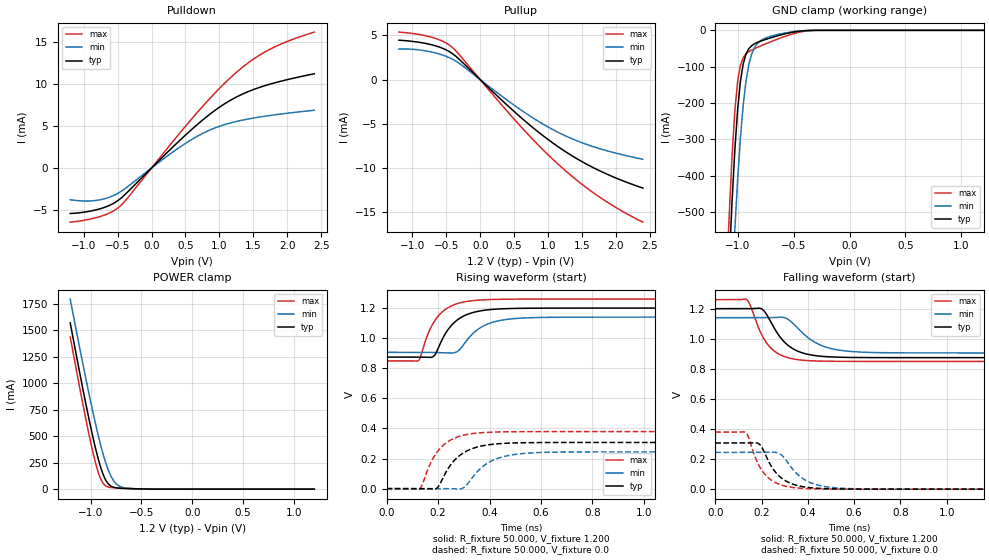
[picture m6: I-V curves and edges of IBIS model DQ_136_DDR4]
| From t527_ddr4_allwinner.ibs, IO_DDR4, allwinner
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|   Model DQ_136_DDR4
[Model] DQ_136_DDR4
Model_type I/O
Polarity   Non-Inverting
Enable   Active-Low
Vinl =  0.600V
Vinh =  0.600V
C_comp   1.609pF   1.571pF   1.657pF
C_comp_pullup   0.531pF   0.514pF   0.552pF
C_comp_pulldown   0.813pF   0.791pF   0.841pF
[Model Spec]
Vinh   0.600V   0.570V   0.630V
Vinl   0.600V   0.570V   0.630V
[Temperature Range]   25.000   0.125k   -40.000
[Voltage Range]   1.200V   1.140V   1.260V
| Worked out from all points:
|   slope of the pulldown table from 0 to 0.18 V, typ, clamps not added: 124 ohm
|   slope of the pullup table from 0 to 0.18 V, typ, clamps not added: 136 ohm
|   GND clamp passes 1 mA (typ) near -0.40 V on its own axis
|   POWER clamp passes 1 mA (typ) near -0.43 V on its own axis
|   rising waveform, R_fixture 50.000, V_fixture 1.200: 20-80 % time 84.6ps typ, 94.3ps min, 77ps max; typ from 0.874 V to 1.2 V
|   rising waveform, R_fixture 50.000, V_fixture 0.0: 20-80 % time 90.4ps typ, 100ps min, 82ps max; typ from 0 V to 0.307 V
|   falling waveform, R_fixture 50.000, V_fixture 1.200: 20-80 % time 97.5ps typ, 122ps min, 82.8ps max; typ from 1.2 V to 0.874 V
|   falling waveform, R_fixture 50.000, V_fixture 0.0: 20-80 % time 85.7ps typ, 98.2ps min, 76.6ps max; typ from 0.307 V to 0 V
[Pulldown]
|Voltage   I(typ)   I(min)   I(max)
-1.2V     -5.436mA   -3.796mA   -6.479mA
-830mV    -5.027mA   -3.892mA   -5.964mA
-645mV    -4.555mA   -3.558mA   -5.465mA
-497mV    -3.899mA   -3.03mA    -4.78mA
-386mV    -3.126mA   -2.437mA   -3.897mA
206mV     1.654mA    1.268mA    2.081mA
576mV     4.487mA    3.321mA    5.709mA
872mV     6.495mA    4.57mA     8.412mA
1.205V    8.275mA    5.464mA    11.09mA
1.464V    9.247mA    5.909mA    12.79mA
1.723V    9.955mA    6.242mA    14.08mA
2.4V      11.25mA    6.894mA    16.23mA
[Pullup]
|Voltage   I(typ)   I(min)   I(max)
-1.2V     4.462mA    3.457mA    5.375mA
-967mV    4.292mA    3.411mA    5.183mA
-745mV    3.993mA    3.167mA    4.851mA
-560mV    3.558mA    2.798mA    4.361mA
-449mV    3.136mA    2.462mA    3.871mA
-338mV    2.498mA    1.987mA    3.082mA
587mV     -4.188mA   -3.353mA   -5.202mA
1.142V    -7.547mA   -5.928mA   -9.509mA
1.438V    -8.992mA   -6.949mA   -11.45mA
1.734V    -10.2mA    -7.742mA   -13.14mA
2.067V    -11.33mA   -8.437mA   -14.75mA
2.4V      -12.26mA   -9.002mA   -16.12mA
[GND_clamp]
|Voltage   I(typ)   I(min)   I(max)
-1.2V     -1.58A     -1.767A    -1.488A
-1.1V     -814.7mA   -1.043A    -687.9mA
-1.075V   -635.1mA   -867.9mA   -505.2mA
-1.05V    -470.6mA   -700.9mA   -345.6mA
-1.025V   -328.8mA   -546.4mA   -221.2mA
-1V       -217.3mA   -409.4mA   -139.7mA
-950mV    -91.68mA   -204.1mA   -74.62mA
-925mV    -64.95mA   -138.5mA   -64.4mA
-875mV    -42.32mA   -65.59mA   -54.22mA
-775mV    -27.6mA    -24.67mA   -40.49mA
-475mV    -3.461mA   -2.765mA   -7.117mA
1.2V      0A         0A         0A
[POWER_clamp]
|Voltage   I(typ)   I(min)   I(max)
-1.2V     1.569A     1.794A     1.436A
-1.1V     1.065A     1.299A     923.3mA
-1.025V   705.5mA    943.2mA    559.5mA
-975mV    483.1mA    718.4mA    339.7mA
-925mV    286.3mA    509.5mA    159.2mA
-900mV    203.1mA    413.5mA    94.6mA
-850mV    82.64mA    246mA      29.88mA
-800mV    28.59mA    122.8mA    15.32mA
-725mV    10.03mA    32.68mA    10.49mA
-650mV    6.259mA    9.931mA    7.528mA
-450mV    1.297mA    1.702mA    1.414mA
1.2V      0A         0A         0A
[Ramp]
| variable   typ   min   max
dV/dt_r   0.184/90.362p   0.147/0.100n   0.227/82.058p
dV/dt_f   0.195/97.519p   0.141/0.122n   0.246/82.804p
R_load = 50.000
[Rising Waveform]
R_fixture= 50.000
V_fixture= 1.200
V_fixture_min= 1.140
V_fixture_max= 1.260
|time   V(typ)   V(min)   V(max)
0s        874.5mV    905.8mV    849.3mV
124ps     874.1mV    905.8mV    851.4mV
179ps     875.7mV    905.2mV    1.094V
212ps     977.6mV    903.4mV    1.168V
251ps     1.083V     901mV      1.214V
281ps     1.129V     919.5mV    1.233V
332ps     1.169V     1.025V     1.249V
414ps     1.192V     1.106V     1.257V
547ps     1.199V     1.135V     1.26V
2ns       1.2V       1.14V      1.26V
[Rising Waveform]
R_fixture= 50.000
V_fixture= 0.0
V_fixture_min= 0.0
V_fixture_max= 0.0
|time   V(typ)   V(min)   V(max)
0s        4.217uV    88.37uV    341nV
129ps     222uV      141.8uV    39.77uV
169ps     -1.005mV   84.92uV    163.1mV
192ps     -845.4uV   259.6uV    232.7mV
247ps     153.8mV    -62.14uV   321.3mV
292ps     230.3mV    -91.82uV   352.1mV
343ps     271.9mV    94.63mV    367.7mV
427ps     297.3mV    198.1mV    376.4mV
566ps     305.8mV    237.7mV    378.9mV
2ns       306.9mV    244.3mV    379.1mV
[Falling Waveform]
R_fixture= 50.000
V_fixture= 1.200
V_fixture_min= 1.140
V_fixture_max= 1.260
|time   V(typ)   V(min)   V(max)
0s        1.2V       1.14V      1.26V
136ps     1.2V       1.14V      1.26V
152ps     1.2V       1.14V      1.22V
199ps     1.2V       1.14V      1.031V
261ps     1.054V     1.142V     911.4mV
307ps     965.9mV    1.135V     877mV
356ps     917.7mV    1.071V     861mV
457ps     883.6mV    956.6mV    851.3mV
605ps     875.4mV    913.3mV    849.5mV
2ns       874.5mV    905.8mV    849.3mV
[Falling Waveform]
R_fixture= 50.000
V_fixture= 0.0
V_fixture_min= 0.0
V_fixture_max= 0.0
|time   V(typ)   V(min)   V(max)
0s        306.9mV    244.3mV    379.1mV
132ps     306.8mV    244.2mV    376.4mV
186ps     303.4mV    244.3mV    165.9mV
202ps     276.1mV    244.5mV    123.9mV
224ps     203.8mV    245.2mV    83.08mV
276ps     87.15mV    237.4mV    32.46mV
336ps     32.69mV    130.1mV    11mV
418ps     8.623mV    39.31mV    2.509mV
550ps     1.009mV    5.779mV    232.6uV
2ns       4.219uV    88.34uV    341nV
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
